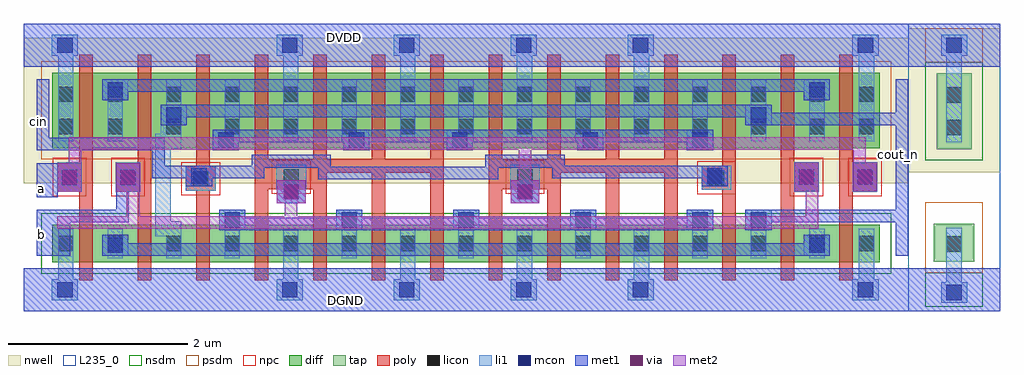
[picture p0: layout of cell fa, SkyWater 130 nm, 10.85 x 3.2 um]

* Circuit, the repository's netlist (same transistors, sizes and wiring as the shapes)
* NGSPICE file created from fa.ext - technology: sky130A

.subckt fa cin a b cout_n DVDD DGND
X0 cout_n b a_n1590_190# DVDD sky130_fd_pr__pfet_01v8 ad=0.21 pd=1.34 as=0.21 ps=1.34 w=0.84 l=0.15
X1 a_n1330_190# a DVDD DVDD sky130_fd_pr__pfet_01v8 ad=0.21 pd=1.34 as=0.21 ps=1.34 w=0.84 l=0.15
X2 a_n1330_190# cin cout_n DVDD sky130_fd_pr__pfet_01v8 ad=0.21 pd=1.34 as=0.21 ps=1.34 w=0.84 l=0.15
X3 DVDD b a_n1330_190# DVDD sky130_fd_pr__pfet_01v8 ad=0.21 pd=1.34 as=0.21 ps=1.34 w=0.84 l=0.15
X4 DVDD a a_n1330_190# DVDD sky130_fd_pr__pfet_01v8 ad=0.21 pd=1.34 as=0.21 ps=1.34 w=0.84 l=0.15
X5 DVDD b a_n1330_190# DVDD sky130_fd_pr__pfet_01v8 ad=0.21 pd=1.34 as=0.21 ps=1.34 w=0.84 l=0.15
X6 a_n1330_190# b DVDD DVDD sky130_fd_pr__pfet_01v8 ad=0.21 pd=1.34 as=0.21 ps=1.34 w=0.84 l=0.15
X7 a_n1330_190# a DVDD DVDD sky130_fd_pr__pfet_01v8 ad=0.21 pd=1.34 as=0.21 ps=1.34 w=0.84 l=0.15
X8 a_n1590_190# a DVDD DVDD sky130_fd_pr__pfet_01v8 ad=0.21 pd=1.34 as=0.252 ps=2.28 w=0.84 l=0.15
X9 DVDD a a_n1330_190# DVDD sky130_fd_pr__pfet_01v8 ad=0.21 pd=1.34 as=0.21 ps=1.34 w=0.84 l=0.15
X10 DVDD a a_n1590_190# DVDD sky130_fd_pr__pfet_01v8 ad=0.252 pd=2.28 as=0.21 ps=1.34 w=0.84 l=0.15
X11 a_n1590_n64# b cout_n DGND sky130_fd_pr__nfet_01v8 ad=0.105 pd=0.92 as=0.105 ps=0.92 w=0.42 l=0.15
X12 a_n1330_n64# b DGND DGND sky130_fd_pr__nfet_01v8 ad=0.105 pd=0.92 as=0.105 ps=0.92 w=0.42 l=0.15
X13 cout_n cin a_n1330_n64# DGND sky130_fd_pr__nfet_01v8 ad=0.105 pd=0.92 as=0.105 ps=0.92 w=0.42 l=0.15
X14 cout_n b a_n1590_n64# DGND sky130_fd_pr__nfet_01v8 ad=0.105 pd=0.92 as=0.105 ps=0.92 w=0.42 l=0.15
X15 a_n1330_n64# a DGND DGND sky130_fd_pr__nfet_01v8 ad=0.105 pd=0.92 as=0.105 ps=0.92 w=0.42 l=0.15
X16 a_n1330_n64# cin cout_n DGND sky130_fd_pr__nfet_01v8 ad=0.105 pd=0.92 as=0.105 ps=0.92 w=0.42 l=0.15
X17 DGND b a_n1330_n64# DGND sky130_fd_pr__nfet_01v8 ad=0.105 pd=0.92 as=0.105 ps=0.92 w=0.42 l=0.15
X18 DGND a a_n1330_n64# DGND sky130_fd_pr__nfet_01v8 ad=0.105 pd=0.92 as=0.105 ps=0.92 w=0.42 l=0.15
X19 DGND b a_n1330_n64# DGND sky130_fd_pr__nfet_01v8 ad=0.105 pd=0.92 as=0.105 ps=0.92 w=0.42 l=0.15
X20 a_n1330_n64# b DGND DGND sky130_fd_pr__nfet_01v8 ad=0.105 pd=0.92 as=0.105 ps=0.92 w=0.42 l=0.15
X21 a_n1330_n64# a DGND DGND sky130_fd_pr__nfet_01v8 ad=0.105 pd=0.92 as=0.105 ps=0.92 w=0.42 l=0.15
X22 a_n1590_n64# a DGND DGND sky130_fd_pr__nfet_01v8 ad=0.105 pd=0.92 as=0.126 ps=1.44 w=0.42 l=0.15
X23 DGND a a_n1330_n64# DGND sky130_fd_pr__nfet_01v8 ad=0.105 pd=0.92 as=0.105 ps=0.92 w=0.42 l=0.15
X24 DGND a a_n1590_n64# DGND sky130_fd_pr__nfet_01v8 ad=0.126 pd=1.44 as=0.105 ps=0.92 w=0.42 l=0.15
X25 a_n1590_190# b cout_n DVDD sky130_fd_pr__pfet_01v8 ad=0.21 pd=1.34 as=0.21 ps=1.34 w=0.84 l=0.15
X26 a_n1330_190# b DVDD DVDD sky130_fd_pr__pfet_01v8 ad=0.21 pd=1.34 as=0.21 ps=1.34 w=0.84 l=0.15
X27 cout_n cin a_n1330_190# DVDD sky130_fd_pr__pfet_01v8 ad=0.21 pd=1.34 as=0.21 ps=1.34 w=0.84 l=0.15
.ends

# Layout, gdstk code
from math import pi, radians
import gdstk
lib = gdstk.Library(unit=1e-6, precision=1e-09)
def R(c, l, rs):  # rectangles x0, y0, x1, y1
    for r in rs: c.add(gdstk.rectangle(r[:2], r[2:], *l))
def A(c, l, x, y, w, h, nx, ny, dx, dy):  # array of equal rectangles
    R(c, l, [(x+i*dx, y+j*dy, x+i*dx+w, y+j*dy+h) for i in range(nx) for j in range(ny)])
nwell = (64, 20)
diff = (65, 20)
tap = (65, 44)
poly = (66, 20)
licon = (66, 44)
li1 = (67, 20)
mcon = (67, 44)
met1 = (68, 20)
via = (68, 44)
met2 = (69, 20)
nsdm = (93, 44)
psdm = (94, 20)
npc = (95, 20)
L235_0 = (235, 0)

vias_gen = lib.new_cell('vias_gen')
R(vias_gen, li1, [(0,0,0.29,0.23)])
R(vias_gen, mcon, [(0.06,0.03,0.23,0.2)])
R(vias_gen, met1, [(0,0,0.29,0.23)])

tap_ = lib.new_cell('tap')
R(tap_, nwell, [(-1.455,0.92,-0.435,2.525)])
R(tap_, tap, [(-1.17,-0.07,-0.72,0.35), (-1.14,1.18,-0.75,2.02)])
R(tap_, licon, [(-1.03,0.04,-0.86,0.21), (-1.03,1.335,-0.86,1.505), (-1.03,1.695,-0.86,1.865)])
R(tap_, li1, [(-1.03,-0.3,-0.86,-0.025), (-1.03,-0.025,-0.86,0.305), (-1.03,1.255,-0.86,1.945), (-1.03,1.945,-0.86,2.25)])
R(tap_, met1, [(-1.455,-0.625,-0.435,-0.145), (-1.455,2.095,-0.435,2.575)])
R(tap_, nsdm, [(-1.265,-0.575,-0.625,-0.195), (-1.265,1.055,-0.625,2.145)])
R(tap_, psdm, [(-1.265,-0.195,-0.625,0.59), (-1.265,2.145,-0.625,2.525)])
R(tap_, L235_0, [(-1.455,-0.625,-0.435,2.575)])
tap_.add(gdstk.Reference(vias_gen, (-1.09,-0.53)))
tap_.add(gdstk.Reference(vias_gen, (-1.09,2.22)))

pfet_1 = lib.new_cell('pfet$1')
R(pfet_1, nwell, [(-0.315,-0.39,9.515,1.23)])
R(pfet_1, diff, [(0,0,9.2,0.84)])
A(pfet_1, poly, 0.3, -0.2, 0.15, 1.24, 14, 1, 0.65, 0)
A(pfet_1, licon, 0.615, 0.155, 0.17, 0.17, 13, 2, 0.65, 0.36)
R(pfet_1, licon, [(0.065,0.155,0.235,0.325), (8.965,0.155,9.135,0.325), (0.065,0.515,0.235,0.685), (8.965,0.515,9.135,0.685)])
A(pfet_1, li1, 0.615, 0.075, 0.17, 0.69, 13, 1, 0.65, 0)
R(pfet_1, li1, [(0.065,0.075,0.235,0.765), (8.965,0.075,9.135,0.765)])
R(pfet_1, psdm, [(-0.125,-0.125,9.325,0.965)])

nfet_1 = lib.new_cell('nfet$1')
R(nfet_1, diff, [(0,0,9.2,0.42)])
A(nfet_1, poly, 0.3, -0.2, 0.15, 0.82, 14, 1, 0.65, 0)
A(nfet_1, licon, 0.615, 0.125, 0.17, 0.17, 13, 1, 0.65, 0)
R(nfet_1, licon, [(0.065,0.125,0.235,0.295), (8.965,0.125,9.135,0.295)])
A(nfet_1, li1, 0.615, 0.045, 0.17, 0.33, 13, 1, 0.65, 0)
R(nfet_1, li1, [(0.065,0.045,0.235,0.375), (8.965,0.045,9.135,0.375)])
R(nfet_1, nsdm, [(-0.125,-0.125,9.325,0.545)])

vias_gen_1 = lib.new_cell('vias_gen$1')
R(vias_gen_1, li1, [(0,0,0.29,0.23)])
R(vias_gen_1, mcon, [(0.06,0.03,0.23,0.2)])
R(vias_gen_1, met1, [(0,0,0.29,0.23)])

vias_gen_3 = lib.new_cell('vias_gen$3')
R(vias_gen_3, poly, [(0,0,0.33,0.27)])
R(vias_gen_3, licon, [(0.08,0.05,0.25,0.22)])
R(vias_gen_3, li1, [(0,0,0.33,0.27)])
R(vias_gen_3, npc, [(-0.05,-0.05,0.38,0.32)])

vias_gen_2 = lib.new_cell('vias_gen$2')
R(vias_gen_2, li1, [(0,0,0.29,0.23)])
R(vias_gen_2, mcon, [(0.06,0.03,0.23,0.2)])
R(vias_gen_2, met1, [(0,0,0.29,0.23)])

vias_gen_4 = lib.new_cell('vias_gen$4')
R(vias_gen_4, li1, [(0,0,0.32,0.26)])
R(vias_gen_4, mcon, [(0.075,0.045,0.245,0.215)])
R(vias_gen_4, met1, [(0,0,0.32,0.26)])
R(vias_gen_4, via, [(0.085,0.055,0.235,0.205)])
R(vias_gen_4, met2, [(0,0,0.32,0.26)])

c_fa = lib.new_cell('fa')
R(c_fa, poly, [(-6,0.495,-5.91,0.675), (-5.58,0.495,-5.5,0.675), (-3.4,0.495,-3.31,0.675), (-2.98,0.495,-2.9,0.675)])
R(c_fa, li1, [(-7.255,-0.03,-6.965,0.14), (-7.255,0.94,-6.965,1.11), (-7.195,1.11,-7.135,1.205)])
R(c_fa, met1, [(-8.715,-0.865,1.115,-0.385), (-8.575,-0.105,-8.34,0.265), (-8.575,0.405,-8.34,0.785), (-8.715,1.855,1.115,2.335)])
c_fa.add(gdstk.FlexPath([(-4.45,1.715),(-4.45,1.98)], 0.17, ends="flush", simple_path=True, layer=67, datatype=20))  # li1
c_fa.add(gdstk.FlexPath([(-5.75,1.715),(-5.75,1.98)], 0.17, ends="flush", simple_path=True, layer=67, datatype=20))  # li1
c_fa.add(gdstk.FlexPath([(0.65,1.715),(0.65,1.98)], 0.17, ends="flush", simple_path=True, layer=67, datatype=20))  # li1
c_fa.add(gdstk.FlexPath([(-8.25,1.715),(-8.25,1.98)], 0.17, ends="flush", simple_path=True, layer=67, datatype=20))  # li1
c_fa.add(gdstk.FlexPath([(-3.15,1.715),(-3.15,1.98)], 0.17, ends="flush", simple_path=True, layer=67, datatype=20))  # li1
c_fa.add(gdstk.FlexPath([(-1.85,1.715),(-1.85,1.98)], 0.17, ends="flush", simple_path=True, layer=67, datatype=20))  # li1
c_fa.add(gdstk.FlexPath([(-4.45,-0.275),(-4.45,-0.51)], 0.17, ends="flush", simple_path=True, layer=67, datatype=20))  # li1
c_fa.add(gdstk.FlexPath([(-5.75,-0.275),(-5.75,-0.51)], 0.17, ends="flush", simple_path=True, layer=67, datatype=20))  # li1
c_fa.add(gdstk.FlexPath([(0.65,-0.275),(0.65,-0.51)], 0.17, ends="flush", simple_path=True, layer=67, datatype=20))  # li1
c_fa.add(gdstk.FlexPath([(-8.25,-0.275),(-8.25,-0.51)], 0.17, ends="flush", simple_path=True, layer=67, datatype=20))  # li1
c_fa.add(gdstk.FlexPath([(-3.15,-0.275),(-3.15,-0.51)], 0.17, ends="flush", simple_path=True, layer=67, datatype=20))  # li1
c_fa.add(gdstk.FlexPath([(-1.85,-0.275),(-1.85,-0.51)], 0.17, ends="flush", simple_path=True, layer=67, datatype=20))  # li1
c_fa.add(gdstk.FlexPath([(-7.17,0.055),(-7.17,1.025)], 0.17, ends="flush", simple_path=True, layer=67, datatype=20))  # li1
c_fa.add(gdstk.FlexPath([(-1.18,0.685),(-2.775,0.685),(-2.775,0.805),(-3.515,0.805),(-3.515,0.675),(-5.375,0.675),(-5.375,0.805),(-6.115,0.805),(-6.115,0.685),(-6.625,0.685)], 0.14, ends="flush", simple_path=True, layer=68, datatype=20))  # met1
c_fa.add(gdstk.FlexPath([(-6.915,0.685),(-7.22,0.685),(-7.22,0.995),(-8.505,0.995),(-8.505,1.715)], 0.14, ends="flush", simple_path=True, layer=68, datatype=20))  # met1
c_fa.add(gdstk.FlexPath([(-7.62,0.465),(-7.62,0.195),(-8.27,0.195),(-8.27,-0.175),(-8.575,-0.175)], 0.14, ends="flush", simple_path=True, layer=68, datatype=20))  # met1
c_fa.add(gdstk.FlexPath([(-1.345,1.085),(-6.325,1.085)], 0.14, ends="flush", simple_path=True, layer=68, datatype=20))  # met1
c_fa.add(gdstk.FlexPath([(-0.045,1.645),(-7.555,1.645)], 0.14, ends="flush", simple_path=True, layer=68, datatype=20))  # met1
c_fa.add(gdstk.FlexPath([(-0.695,1.365),(-6.905,1.365)], 0.14, ends="flush", simple_path=True, layer=68, datatype=20))  # met1
c_fa.add(gdstk.FlexPath([(-0.045,-0.175),(-7.555,-0.175)], 0.14, ends="flush", simple_path=True, layer=68, datatype=20))  # met1
c_fa.add(gdstk.FlexPath([(-1.345,0.105),(-6.255,0.105)], 0.14, ends="flush", simple_path=True, layer=68, datatype=20))  # met1
c_fa.add(gdstk.FlexPath([(-0.405,0.195),(1.045,0.195),(1.045,1.715)], 0.14, ends="flush", simple_path=True, layer=68, datatype=20))  # met1
c_fa.add(gdstk.FlexPath([(1.045,0.125),(1.045,-0.245)], 0.14, ends="flush", simple_path=True, layer=68, datatype=20))  # met1
c_fa.add(gdstk.FlexPath([(-0.405,1.275),(0.975,1.275)], 0.14, ends="flush", simple_path=True, layer=68, datatype=20))  # met1
c_fa.add(gdstk.FlexPath([(-6,0.75),(-4.2,0.75)], 0.15, ends="flush", simple_path=True, layer=66, datatype=20))  # poly
c_fa.add(gdstk.FlexPath([(-3.4,0.75),(-1.6,0.75)], 0.15, ends="flush", simple_path=True, layer=66, datatype=20))  # poly
c_fa.add(gdstk.FlexPath([(0.425,0.75),(0.425,0.3)], 0.15, ends="flush", simple_path=True, layer=66, datatype=20))  # poly
c_fa.add(gdstk.FlexPath([(-0.225,0.75),(-0.225,0.3)], 0.15, ends="flush", simple_path=True, layer=66, datatype=20))  # poly
c_fa.add(gdstk.FlexPath([(-0.875,0.75),(-0.875,0.3)], 0.15, ends="flush", simple_path=True, layer=66, datatype=20))  # poly
c_fa.add(gdstk.FlexPath([(-1.525,0.75),(-1.525,0.3)], 0.15, ends="flush", simple_path=True, layer=66, datatype=20))  # poly
c_fa.add(gdstk.FlexPath([(-2.175,0.75),(-2.175,0.3)], 0.15, ends="flush", simple_path=True, layer=66, datatype=20))  # poly
c_fa.add(gdstk.FlexPath([(-2.825,0.75),(-2.825,0.3)], 0.15, ends="flush", simple_path=True, layer=66, datatype=20))  # poly
c_fa.add(gdstk.FlexPath([(-3.475,0.75),(-3.475,0.3)], 0.15, ends="flush", simple_path=True, layer=66, datatype=20))  # poly
c_fa.add(gdstk.FlexPath([(-4.125,0.75),(-4.125,0.3)], 0.15, ends="flush", simple_path=True, layer=66, datatype=20))  # poly
c_fa.add(gdstk.FlexPath([(-4.775,0.75),(-4.775,0.3)], 0.15, ends="flush", simple_path=True, layer=66, datatype=20))  # poly
c_fa.add(gdstk.FlexPath([(-5.425,0.75),(-5.425,0.3)], 0.15, ends="flush", simple_path=True, layer=66, datatype=20))  # poly
c_fa.add(gdstk.FlexPath([(-6.075,0.75),(-6.075,0.3)], 0.15, ends="flush", simple_path=True, layer=66, datatype=20))  # poly
c_fa.add(gdstk.FlexPath([(-6.725,0.75),(-6.725,0.3)], 0.15, ends="flush", simple_path=True, layer=66, datatype=20))  # poly
c_fa.add(gdstk.FlexPath([(-7.375,0.75),(-7.375,0.3)], 0.15, ends="flush", simple_path=True, layer=66, datatype=20))  # poly
c_fa.add(gdstk.FlexPath([(-8.025,0.75),(-8.025,0.3)], 0.15, ends="flush", simple_path=True, layer=66, datatype=20))  # poly
c_fa.add(gdstk.FlexPath([(-8.025,0.75),(-8.025,0.3)], 0.15, ends="flush", simple_path=True, layer=66, datatype=20))  # poly
c_fa.add(gdstk.FlexPath([(-8.22,1),(0.645,1)], 0.14, ends="flush", simple_path=True, layer=69, datatype=20))  # met2
c_fa.add(gdstk.FlexPath([(-8.345,0.125),(0.115,0.125)], 0.14, ends="flush", simple_path=True, layer=69, datatype=20))  # met2
c_fa.add(gdstk.FlexPath([(-8.15,0.785),(-8.15,0.93)], 0.14, ends="flush", simple_path=True, layer=69, datatype=20))  # met2
c_fa.add(gdstk.FlexPath([(-3.145,0.595),(-3.145,0.93)], 0.14, ends="flush", simple_path=True, layer=69, datatype=20))  # met2
c_fa.add(gdstk.FlexPath([(0.575,0.79),(0.575,0.93)], 0.14, ends="flush", simple_path=True, layer=69, datatype=20))  # met2
c_fa.add(gdstk.FlexPath([(-7.5,0.465),(-7.5,0.195)], 0.14, ends="flush", simple_path=True, layer=69, datatype=20))  # met2
c_fa.add(gdstk.FlexPath([(-5.745,0.335),(-5.745,0.195)], 0.14, ends="flush", simple_path=True, layer=69, datatype=20))  # met2
c_fa.add(gdstk.FlexPath([(0.045,0.47),(0.045,0.195)], 0.14, ends="flush", simple_path=True, layer=69, datatype=20))  # met2
c_fa.add(gdstk.Reference(tap_, (2.57,-0.24)))
c_fa.add(gdstk.Reference(pfet_1, (-8.4,0.95)))
c_fa.add(gdstk.Reference(nfet_1, (-8.4,-0.32)))
c_fa.add(gdstk.Reference(vias_gen_1, (-0.045,1.485)))
c_fa.add(gdstk.Reference(vias_gen_1, (-7.845,1.485)))
c_fa.add(gdstk.Reference(vias_gen_1, (-0.695,1.205)))
c_fa.add(gdstk.Reference(vias_gen_1, (-7.195,1.205)))
c_fa.add(gdstk.Reference(vias_gen_1, (-5.165,0.925)))
c_fa.add(gdstk.Reference(vias_gen_1, (-4.015,0.925)))
c_fa.add(gdstk.Reference(vias_gen_1, (-2.565,0.925)))
c_fa.add(gdstk.Reference(vias_gen_1, (-1.345,0.925)))
c_fa.add(gdstk.Reference(vias_gen_1, (-0.045,-0.245)))
c_fa.add(gdstk.Reference(vias_gen_1, (-7.845,-0.245)))
c_fa.add(gdstk.Reference(vias_gen_1, (-1.345,0.035)))
c_fa.add(gdstk.Reference(vias_gen_1, (-5.245,0.035)))
c_fa.add(gdstk.Reference(vias_gen_1, (-3.945,0.035)))
c_fa.add(gdstk.Reference(vias_gen_1, (-2.645,0.035)))
c_fa.add(gdstk.Reference(vias_gen_1, (-0.695,0.035)))
c_fa.add(gdstk.Reference(vias_gen_3, (0.12,0.465), rotation=pi/2))
c_fa.add(gdstk.Reference(vias_gen_3, (0.77,0.465), rotation=pi/2))
c_fa.add(gdstk.Reference(vias_gen_3, (-1.18,0.485)))
c_fa.add(gdstk.Reference(vias_gen_3, (-3.31,0.495)))
c_fa.add(gdstk.Reference(vias_gen_3, (-5.91,0.495)))
c_fa.add(gdstk.Reference(vias_gen_2, (-1.18,0.525)))
c_fa.add(gdstk.Reference(vias_gen_3, (-8.075,0.465), rotation=pi/2))
c_fa.add(gdstk.Reference(vias_gen_2, (-6.915,0.525)))
c_fa.add(gdstk.Reference(vias_gen_3, (-6.915,0.475)))
c_fa.add(gdstk.Reference(vias_gen_3, (-7.425,0.465), rotation=pi/2))
c_fa.add(gdstk.Reference(vias_gen_1, (-6.545,0.035)))
c_fa.add(gdstk.Reference(vias_gen_4, (-8.08,0.465), rotation=pi/2))
c_fa.add(gdstk.Reference(vias_gen_4, (-7.43,0.465), rotation=pi/2))
c_fa.add(gdstk.Reference(vias_gen_4, (-5.905,0.335)))
c_fa.add(gdstk.Reference(vias_gen_1, (-6.615,0.925)))
c_fa.add(gdstk.Reference(vias_gen_4, (-3.305,0.335)))
c_fa.add(gdstk.Reference(vias_gen_4, (0.115,0.47), rotation=pi/2))
c_fa.add(gdstk.Reference(vias_gen_4, (0.765,0.47), rotation=pi/2))
c_fa.add(gdstk.Reference(vias_gen_2, (-2.005,1.98)))
c_fa.add(gdstk.Reference(vias_gen_2, (-3.305,1.98)))
c_fa.add(gdstk.Reference(vias_gen_2, (-8.405,1.98)))
c_fa.add(gdstk.Reference(vias_gen_2, (0.495,1.98)))
c_fa.add(gdstk.Reference(vias_gen_2, (-5.905,1.98)))
c_fa.add(gdstk.Reference(vias_gen_2, (-4.605,1.98)))
c_fa.add(gdstk.Reference(vias_gen_2, (-2.005,-0.51), x_reflection=True))
c_fa.add(gdstk.Reference(vias_gen_2, (-3.305,-0.51), x_reflection=True))
c_fa.add(gdstk.Reference(vias_gen_2, (-8.405,-0.51), x_reflection=True))
c_fa.add(gdstk.Reference(vias_gen_2, (0.495,-0.51), x_reflection=True))
c_fa.add(gdstk.Reference(vias_gen_2, (-5.905,-0.51), x_reflection=True))
c_fa.add(gdstk.Reference(vias_gen_2, (-4.605,-0.51), x_reflection=True))
c_fa.add(gdstk.Label('cin', (-8.55,1.25), layer=68, texttype=5))
c_fa.add(gdstk.Label('a', (-8.525,0.5), layer=68, texttype=5))
c_fa.add(gdstk.Label('b', (-8.525,-0.015), layer=68, texttype=5))
c_fa.add(gdstk.Label('cout_n', (1.01,0.88), layer=68, texttype=5))
c_fa.add(gdstk.Label('DVDD', (-5.15,2.18), layer=68, texttype=5))
c_fa.add(gdstk.Label('DGND', (-5.14,-0.745), layer=68, texttype=5))

lib.write_gds('fa.gds')
